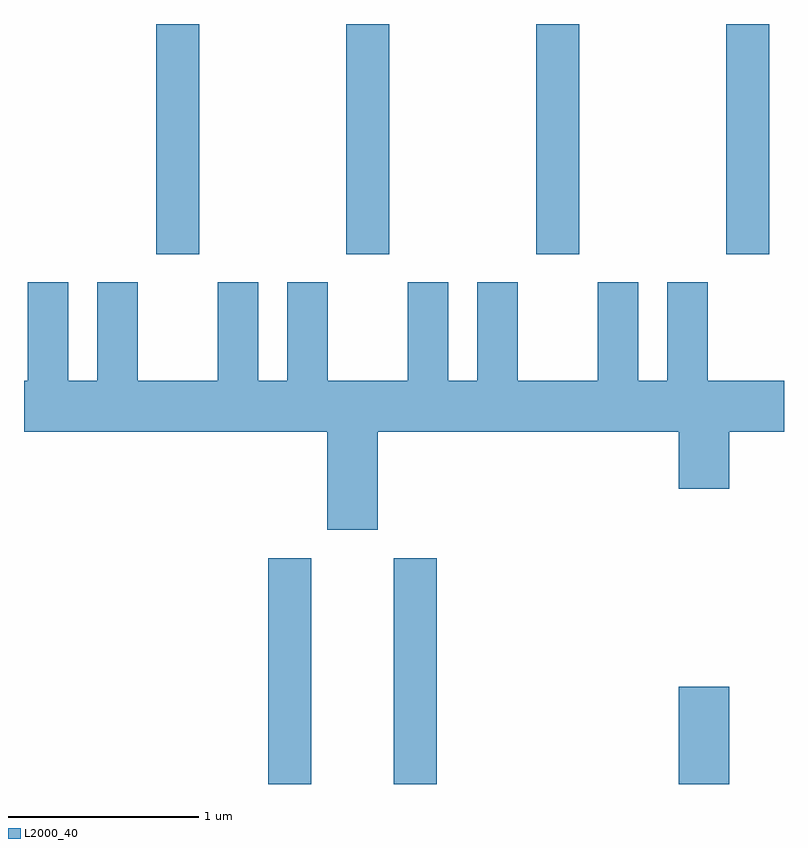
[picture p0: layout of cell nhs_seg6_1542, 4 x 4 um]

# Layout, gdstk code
import gdstk
lib = gdstk.Library(unit=1e-6, precision=1e-09)
def R(c, l, rs):  # rectangles x0, y0, x1, y1
    for r in rs: c.add(gdstk.rectangle(r[:2], r[2:], *l))
def A(c, l, x, y, w, h, nx, ny, dx, dy):  # array of equal rectangles
    R(c, l, [(x+i*dx, y+j*dy, x+i*dx+w, y+j*dy+h) for i in range(nx) for j in range(ny)])
def P(c, l, *ps):  # polygons
    for p in ps: c.add(gdstk.Polygon(p, *l))
L2000_40 = (2000, 40)

nhs_seg6_1542 = lib.new_cell('nhs_seg6_1542')
A(nhs_seg6_1542, L2000_40, 232.306, 1570.951, 0.228, 1.211, 4, 1, 1, 0)
R(nhs_seg6_1542, L2000_40, [(232.896,1568.162,233.124,1569.349), (233.556,1568.162,233.784,1569.349), (235.056,1568.162,235.324,1568.674)])
P(nhs_seg6_1542, L2000_40, [(233.474,1570.016),(235.056,1570.016),(235.056,1569.716),(235.324,1569.716),(235.324,1570.016),(235.611,1570.016),(235.611,1570.284),(235.209,1570.284),(235.209,1570.804),(234.996,1570.804),(234.996,1570.284),(234.844,1570.284),(234.844,1570.804),(234.631,1570.804),(234.631,1570.284),(234.209,1570.284),(234.209,1570.804),(233.996,1570.804),(233.996,1570.284),(233.844,1570.284),(233.844,1570.804),(233.631,1570.804),(233.631,1570.284),(233.209,1570.284),(233.209,1570.804),(232.996,1570.804),(232.996,1570.284),(232.844,1570.284),(232.844,1570.804),(232.631,1570.804),(232.631,1570.284),(232.209,1570.284),(232.209,1570.804),(231.996,1570.804),(231.996,1570.284),(231.844,1570.284),(231.844,1570.804),(231.631,1570.804),(231.631,1570.284),(231.611,1570.284),(231.611,1570.016),(233.206,1570.016),(233.206,1569.501),(233.474,1569.501)])

lib.write_gds('nhs_seg6_1542.gds')
